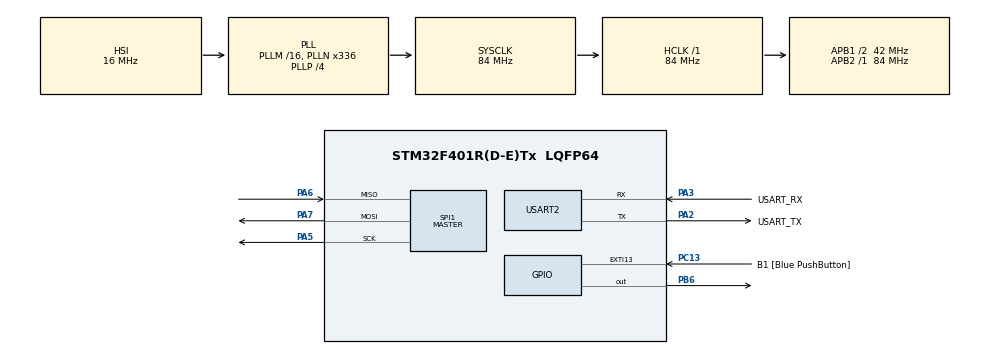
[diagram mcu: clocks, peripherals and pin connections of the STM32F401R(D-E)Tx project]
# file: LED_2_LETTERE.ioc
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Dma.Request0=SPI1_TX
Dma.SPI1_TX.0.Direction=DMA_MEMORY_TO_PERIPH
Dma.SPI1_TX.0.FIFOMode=DMA_FIFOMODE_DISABLE
Dma.SPI1_TX.0.Instance=DMA2_Stream3
Dma.SPI1_TX.0.MemDataAlignment=DMA_MDATAALIGN_BYTE
Dma.SPI1_TX.0.MemInc=DMA_MINC_ENABLE
Dma.SPI1_TX.0.Mode=DMA_NORMAL
Dma.SPI1_TX.0.PeriphDataAlignment=DMA_PDATAALIGN_BYTE
Dma.SPI1_TX.0.PeriphInc=DMA_PINC_DISABLE
Dma.SPI1_TX.0.Priority=DMA_PRIORITY_HIGH
Mcu.Family=STM32F4
Mcu.Name=STM32F401R(D-E)Tx
Mcu.Package=LQFP64
NVIC.DMA2_Stream3_IRQn=true\:0\:0\:false\:false\:true\:false\:true\:true
NVIC.PriorityGroup=NVIC_PRIORITYGROUP_4
NVIC.SPI1_IRQn=true\:0\:0\:false\:false\:true\:true\:true\:true
NVIC.TIM2_IRQn=true\:0\:0\:false\:false\:true\:true\:true\:true
NVIC.TIM3_IRQn=true\:1\:0\:true\:false\:true\:true\:true\:true
PA13.GPIO_Label=TMS
PA13.Mode=Trace_Asynchronous_SW
PA13.Signal=SYS_JTMS-SWDIO
PA14.GPIO_Label=TCK
PA14.Mode=Trace_Asynchronous_SW
PA14.Signal=SYS_JTCK-SWCLK
PA2.GPIO_Label=USART_TX
PA2.GPIO_Mode=GPIO_MODE_AF_PP
PA2.GPIO_PuPd=GPIO_NOPULL
PA2.GPIO_Speed=GPIO_SPEED_FREQ_LOW
PA2.Mode=Asynchronous
PA2.Signal=USART2_TX
PA3.GPIO_Label=USART_RX
PA3.GPIO_Mode=GPIO_MODE_AF_PP
PA3.GPIO_PuPd=GPIO_NOPULL
PA3.GPIO_Speed=GPIO_SPEED_FREQ_LOW
PA3.Mode=Asynchronous
PA3.Signal=USART2_RX
PA5.Mode=Full_Duplex_Master
PA5.Signal=SPI1_SCK
PA6.Mode=Full_Duplex_Master
PA6.Signal=SPI1_MISO
PA7.Mode=Full_Duplex_Master
PA7.Signal=SPI1_MOSI
PB3.GPIO_Label=SWO
PB3.Mode=Trace_Asynchronous_SW
PB3.Signal=SYS_JTDO-SWO
PB6.Signal=GPIO_Output
PC13-ANTI_TAMP.GPIO_Label=B1 [Blue PushButton]
PC13-ANTI_TAMP.GPIO_ModeDefaultEXTI=GPIO_MODE_IT_FALLING
PC13-ANTI_TAMP.GPIO_PuPd=GPIO_NOPULL
PC13-ANTI_TAMP.Signal=GPXTI13
PC14-OSC32_IN.Mode=LSE-External-Oscillator
PC14-OSC32_IN.Signal=RCC_OSC32_IN
PC15-OSC32_OUT.Mode=LSE-External-Oscillator
PC15-OSC32_OUT.Signal=RCC_OSC32_OUT
PH0\ -\ OSC_IN.Mode=HSE-External-Clock-Source
PH0\ -\ OSC_IN.Signal=RCC_OSC_IN
PH1\ -\ OSC_OUT.Mode=HSE-External-Clock-Source
PH1\ -\ OSC_OUT.Signal=RCC_OSC_OUT
ProjectManager.HeapSize=0x200
ProjectManager.StackSize=0x400
ProjectManager.TargetToolchain=STM32CubeIDE
RCC.48MHZClocksFreq_Value=48000000
RCC.AHBFreq_Value=84000000
RCC.APB1CLKDivider=RCC_HCLK_DIV2
RCC.APB1Freq_Value=42000000
RCC.APB1TimFreq_Value=84000000
RCC.APB2Freq_Value=84000000
RCC.APB2TimFreq_Value=84000000
RCC.CortexFreq_Value=84000000
RCC.HCLKFreq_Value=84000000
RCC.HSE_VALUE=8000000
RCC.HSI_VALUE=16000000
RCC.PLLN=336
RCC.PLLP=RCC_PLLP_DIV4
RCC.PLLQ=7
RCC.SYSCLKFreq_VALUE=84000000
RCC.SYSCLKSource=RCC_SYSCLKSOURCE_PLLCLK
RCC.VCOOutputFreq_Value=336000000
SPI1.BaudRatePrescaler=SPI_BAUDRATEPRESCALER_4
SPI1.Direction=SPI_DIRECTION_2LINES
SPI1.Mode=SPI_MODE_MASTER
SPI1.VirtualType=VM_MASTER
TIM2.Period=3359
TIM2.Prescaler=99
TIM3.Period=16799
TIM3.Prescaler=9999
USART2.VirtualMode=VM_ASYNC
VP_TIM2_VS_ClockSourceINT.Mode=Internal
VP_TIM3_VS_ClockSourceINT.Mode=Internal
board=NUCLEO-F401RE

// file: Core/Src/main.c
/* USER CODE BEGIN Header */
/**
  ******************************************************************************
  * @file           : main.c
  * @brief          : Main program body
  ******************************************************************************
  * @attention
  *
  * Copyright (c) 2026 STMicroelectronics.
  * All rights reserved.
  *
  * This software is licensed under terms that can be found in the LICENSE file
  * in the root directory of this software component.
  * If no LICENSE file comes with this software, it is provided AS-IS.
  *
  ******************************************************************************
  */
/* USER CODE END Header */
#include "main.h"

/* USER CODE BEGIN PD */
#define NUM_COLS 5
#define NUM_LETTERS 2

#define PORT GPIOB
#define PIN GPIO_PIN_6
/* USER CODE END PD */

SPI_HandleTypeDef hspi1;
DMA_HandleTypeDef hdma_spi1_tx;

TIM_HandleTypeDef htim2;
TIM_HandleTypeDef htim3;

UART_HandleTypeDef huart2;

/* USER CODE BEGIN PV */
// Definizione Lettere
static const uint8_t LETTER_COL[NUM_LETTERS][NUM_COLS] = {{ 16,  8,  4,  2,  1 },{ 16,  8,  4,  2,  1 }};
static const uint8_t LETTER_ROW[NUM_LETTERS][NUM_COLS] = {{ 62, 65 , 65 , 65 , 62  },{127 ,8 ,20 ,34 , 65 }}; // "O", "K"

// Contatori
static int col_cnt = 0; // Colonna a cui siamo arrivati = 0:NUM_COLS-1
static int letter_idx=0; //  Lettera (0="O", 1="K") = 0:NUM_LETTERS-1

/* USER CODE END PV */

void SystemClock_Config(void);
static void MX_GPIO_Init(void);
static void MX_DMA_Init(void);
static void MX_USART2_UART_Init(void);
static void MX_SPI1_Init(void);
static void MX_TIM2_Init(void);
static void MX_TIM3_Init(void);

/* USER CODE BEGIN 0 */

static inline void spi_send(uint8_t col, uint8_t row){
	static uint8_t buffer[2]; // 2 byte
	// DAISY RING
	buffer[0]=row; // prima la riga
	buffer[1]=col; // poi la colonna

	// Ogni 4 ms trasmettiamo (refreshamo)
	HAL_SPI_Transmit_DMA(&hspi1, buffer, 2);
}

void HAL_SPI_TxCpltCallback(SPI_HandleTypeDef *hspi){
	if(hspi->Instance==SPI1){
		// Una volta terminata la comunicazione dei 2 byte
		// diamo un impulso su RCLK per far scattare il latch
		// dei due shift register
		HAL_GPIO_WritePin(PORT, PIN, GPIO_PIN_SET);
		HAL_GPIO_WritePin(PORT, PIN, GPIO_PIN_RESET);
	}
}

void HAL_TIM_PeriodElapsedCallback(TIM_HandleTypeDef *htim)
{
	// CALLBACK CAMBIO COLONNA (4ms)
    if (htim->Instance == TIM2){
        // refresh colonna
        spi_send(LETTER_COL[letter_idx][col_cnt], LETTER_ROW[letter_idx][col_cnt]);
        col_cnt++;
        if (col_cnt == NUM_COLS){
            col_cnt = 0;
        }
    }
    // CALLBACK CAMBIO LETTERA (2s)
    else if (htim->Instance == TIM3){
        // cambio lettera
        letter_idx++;
        if (letter_idx == NUM_LETTERS){
            letter_idx = 0;
        }
    }
}

/* USER CODE END 0 */

int main(void)
{

  /* MCU Configuration--------------------------------------------------------*/

  /* Reset of all peripherals, Initializes the Flash interface and the Systick. */
  HAL_Init();

  /* Configure the system clock */
  SystemClock_Config();

  /* Initialize all configured peripherals */
  MX_GPIO_Init();
  MX_DMA_Init();
  MX_USART2_UART_Init();
  MX_SPI1_Init();
  MX_TIM2_Init();
  MX_TIM3_Init();
  /* USER CODE BEGIN 2 */
  HAL_TIM_Base_Start_IT(&htim2);
  HAL_TIM_Base_Start_IT(&htim3);

  /* USER CODE END 2 */

  /* Infinite loop */
  while (1)
  {

  }
}

void SystemClock_Config(void)
{
  RCC_OscInitTypeDef RCC_OscInitStruct = {0};
  RCC_ClkInitTypeDef RCC_ClkInitStruct = {0};

  /** Configure the main internal regulator output voltage
  */
  __HAL_RCC_PWR_CLK_ENABLE();
  __HAL_PWR_VOLTAGESCALING_CONFIG(PWR_REGULATOR_VOLTAGE_SCALE2);

  /** Initializes the RCC Oscillators according to the specified parameters
  * in the RCC_OscInitTypeDef structure.
  */
  RCC_OscInitStruct.OscillatorType = RCC_OSCILLATORTYPE_HSI;
  RCC_OscInitStruct.HSIState = RCC_HSI_ON;
  RCC_OscInitStruct.HSICalibrationValue = RCC_HSICALIBRATION_DEFAULT;
  RCC_OscInitStruct.PLL.PLLState = RCC_PLL_ON;
  RCC_OscInitStruct.PLL.PLLSource = RCC_PLLSOURCE_HSI;
  RCC_OscInitStruct.PLL.PLLM = 16;
  RCC_OscInitStruct.PLL.PLLN = 336;
  RCC_OscInitStruct.PLL.PLLP = RCC_PLLP_DIV4;
  RCC_OscInitStruct.PLL.PLLQ = 7;
  if (HAL_RCC_OscConfig(&RCC_OscInitStruct) != HAL_OK)
  {
    Error_Handler();
  }

  /** Initializes the CPU, AHB and APB buses clocks
  */
  RCC_ClkInitStruct.ClockType = RCC_CLOCKTYPE_HCLK|RCC_CLOCKTYPE_SYSCLK
                              |RCC_CLOCKTYPE_PCLK1|RCC_CLOCKTYPE_PCLK2;
  RCC_ClkInitStruct.SYSCLKSource = RCC_SYSCLKSOURCE_PLLCLK;
  RCC_ClkInitStruct.AHBCLKDivider = RCC_SYSCLK_DIV1;
  RCC_ClkInitStruct.APB1CLKDivider = RCC_HCLK_DIV2;
  RCC_ClkInitStruct.APB2CLKDivider = RCC_HCLK_DIV1;

  if (HAL_RCC_ClockConfig(&RCC_ClkInitStruct, FLASH_LATENCY_2) != HAL_OK)
  {
    Error_Handler();
  }
}

static void MX_SPI1_Init(void)
{

  /* SPI1 parameter configuration*/
  hspi1.Instance = SPI1;
  hspi1.Init.Mode = SPI_MODE_MASTER;
  hspi1.Init.Direction = SPI_DIRECTION_2LINES;
  hspi1.Init.DataSize = SPI_DATASIZE_8BIT;
  hspi1.Init.CLKPolarity = SPI_POLARITY_LOW;
  hspi1.Init.CLKPhase = SPI_PHASE_1EDGE;
  hspi1.Init.NSS = SPI_NSS_SOFT;
  hspi1.Init.BaudRatePrescaler = SPI_BAUDRATEPRESCALER_4;
  hspi1.Init.FirstBit = SPI_FIRSTBIT_MSB;
  hspi1.Init.TIMode = SPI_TIMODE_DISABLE;
  hspi1.Init.CRCCalculation = SPI_CRCCALCULATION_DISABLE;
  hspi1.Init.CRCPolynomial = 10;
  if (HAL_SPI_Init(&hspi1) != HAL_OK)
  {
    Error_Handler();
  }

}

static void MX_TIM2_Init(void)
{

  TIM_ClockConfigTypeDef sClockSourceConfig = {0};
  TIM_MasterConfigTypeDef sMasterConfig = {0};

  htim2.Instance = TIM2;
  htim2.Init.Prescaler = 99;
  htim2.Init.CounterMode = TIM_COUNTERMODE_UP;
  htim2.Init.Period = 3359;
  htim2.Init.ClockDivision = TIM_CLOCKDIVISION_DIV1;
  htim2.Init.AutoReloadPreload = TIM_AUTORELOAD_PRELOAD_DISABLE;
  if (HAL_TIM_Base_Init(&htim2) != HAL_OK)
  {
    Error_Handler();
  }
  sClockSourceConfig.ClockSource = TIM_CLOCKSOURCE_INTERNAL;
  if (HAL_TIM_ConfigClockSource(&htim2, &sClockSourceConfig) != HAL_OK)
  {
    Error_Handler();
  }
  sMasterConfig.MasterOutputTrigger = TIM_TRGO_RESET;
  sMasterConfig.MasterSlaveMode = TIM_MASTERSLAVEMODE_DISABLE;
  if (HAL_TIMEx_MasterConfigSynchronization(&htim2, &sMasterConfig) != HAL_OK)
  {
    Error_Handler();
  }

}

static void MX_TIM3_Init(void)
{

  TIM_ClockConfigTypeDef sClockSourceConfig = {0};
  TIM_MasterConfigTypeDef sMasterConfig = {0};

  htim3.Instance = TIM3;
  htim3.Init.Prescaler = 9999;
  htim3.Init.CounterMode = TIM_COUNTERMODE_UP;
  htim3.Init.Period = 16799;
  htim3.Init.ClockDivision = TIM_CLOCKDIVISION_DIV1;
  htim3.Init.AutoReloadPreload = TIM_AUTORELOAD_PRELOAD_DISABLE;
  if (HAL_TIM_Base_Init(&htim3) != HAL_OK)
  {
    Error_Handler();
  }
  sClockSourceConfig.ClockSource = TIM_CLOCKSOURCE_INTERNAL;
  if (HAL_TIM_ConfigClockSource(&htim3, &sClockSourceConfig) != HAL_OK)
  {
    Error_Handler();
  }
  sMasterConfig.MasterOutputTrigger = TIM_TRGO_RESET;
  sMasterConfig.MasterSlaveMode = TIM_MASTERSLAVEMODE_DISABLE;
  if (HAL_TIMEx_MasterConfigSynchronization(&htim3, &sMasterConfig) != HAL_OK)
  {
    Error_Handler();
  }

}

static void MX_USART2_UART_Init(void)
{

  huart2.Instance = USART2;
  huart2.Init.BaudRate = 115200;
  huart2.Init.WordLength = UART_WORDLENGTH_8B;
  huart2.Init.StopBits = UART_STOPBITS_1;
  huart2.Init.Parity = UART_PARITY_NONE;
  huart2.Init.Mode = UART_MODE_TX_RX;
  huart2.Init.HwFlowCtl = UART_HWCONTROL_NONE;
  huart2.Init.OverSampling = UART_OVERSAMPLING_16;
  if (HAL_UART_Init(&huart2) != HAL_OK)
  {
    Error_Handler();
  }

}

static void MX_DMA_Init(void)
{

  /* DMA controller clock enable */
  __HAL_RCC_DMA2_CLK_ENABLE();

  /* DMA interrupt init */
  /* DMA2_Stream3_IRQn interrupt configuration */
  HAL_NVIC_SetPriority(DMA2_Stream3_IRQn, 0, 0);
  HAL_NVIC_EnableIRQ(DMA2_Stream3_IRQn);

}

static void MX_GPIO_Init(void)
{
  GPIO_InitTypeDef GPIO_InitStruct = {0};

  /* GPIO Ports Clock Enable */
  __HAL_RCC_GPIOC_CLK_ENABLE();
  __HAL_RCC_GPIOH_CLK_ENABLE();
  __HAL_RCC_GPIOA_CLK_ENABLE();
  __HAL_RCC_GPIOB_CLK_ENABLE();

  /*Configure GPIO pin Output Level */
  HAL_GPIO_WritePin(GPIOB, GPIO_PIN_6, GPIO_PIN_RESET);

  /*Configure GPIO pin : B1_Pin */
  GPIO_InitStruct.Pin = B1_Pin;
  GPIO_InitStruct.Mode = GPIO_MODE_IT_FALLING;
  GPIO_InitStruct.Pull = GPIO_NOPULL;
  HAL_GPIO_Init(B1_GPIO_Port, &GPIO_InitStruct);

  /*Configure GPIO pin : PB6 */
  GPIO_InitStruct.Pin = GPIO_PIN_6;
  GPIO_InitStruct.Mode = GPIO_MODE_OUTPUT_PP;
  GPIO_InitStruct.Pull = GPIO_NOPULL;
  GPIO_InitStruct.Speed = GPIO_SPEED_FREQ_LOW;
  HAL_GPIO_Init(GPIOB, &GPIO_InitStruct);

}

void Error_Handler(void)
{
  __disable_irq();
  while (1)
  {
  }
}
